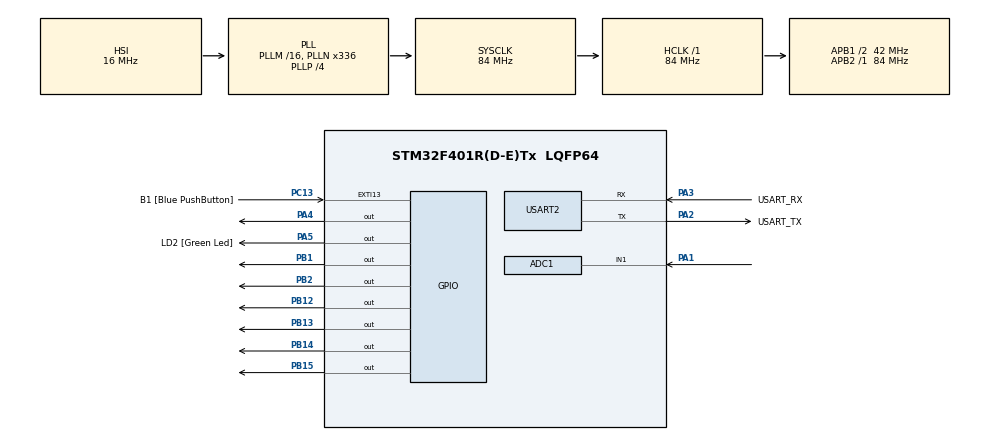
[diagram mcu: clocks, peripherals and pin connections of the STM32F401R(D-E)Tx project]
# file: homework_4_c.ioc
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ADC1.Channel-0\#ChannelRegularConversion=ADC_CHANNEL_1
ADC1.ExternalTrigConv=ADC_EXTERNALTRIGCONV_T2_TRGO
ADC1.NbrOfConversionFlag=1
ADC1.Rank-0\#ChannelRegularConversion=1
ADC1.SamplingTime-0\#ChannelRegularConversion=ADC_SAMPLETIME_480CYCLES
ADC1.master=1
Mcu.Family=STM32F4
Mcu.Name=STM32F401R(D-E)Tx
Mcu.Package=LQFP64
NVIC.ADC_IRQn=true\:0\:0\:false\:false\:true\:true\:true\:true
NVIC.PriorityGroup=NVIC_PRIORITYGROUP_0
PA1.Signal=SharedAnalog_PA1
PA13.GPIO_Label=TMS
PA13.Mode=Serial_Wire
PA13.Signal=SYS_JTMS-SWDIO
PA14.GPIO_Label=TCK
PA14.Mode=Serial_Wire
PA14.Signal=SYS_JTCK-SWCLK
PA2.GPIO_Label=USART_TX
PA2.GPIO_Mode=GPIO_MODE_AF_PP
PA2.GPIO_PuPd=GPIO_NOPULL
PA2.GPIO_Speed=GPIO_SPEED_FREQ_LOW
PA2.Mode=Asynchronous
PA2.Signal=USART2_TX
PA3.GPIO_Label=USART_RX
PA3.GPIO_Mode=GPIO_MODE_AF_PP
PA3.GPIO_PuPd=GPIO_NOPULL
PA3.GPIO_Speed=GPIO_SPEED_FREQ_LOW
PA3.Mode=Asynchronous
PA3.Signal=USART2_RX
PA4.Signal=GPIO_Output
PA5.GPIO_Label=LD2 [Green Led]
PA5.GPIO_Mode=GPIO_MODE_OUTPUT_PP
PA5.GPIO_PuPd=GPIO_NOPULL
PA5.GPIO_Speed=GPIO_SPEED_FREQ_LOW
PA5.Signal=GPIO_Output
PB1.Signal=GPIO_Output
PB12.Signal=GPIO_Output
PB13.Signal=GPIO_Output
PB14.Signal=GPIO_Output
PB15.Signal=GPIO_Output
PB2.Signal=GPIO_Output
PB3.GPIO_Label=SWO
PB3.Signal=SYS_JTDO-SWO
PC13-ANTI_TAMP.GPIO_Label=B1 [Blue PushButton]
PC13-ANTI_TAMP.GPIO_ModeDefaultEXTI=GPIO_MODE_IT_FALLING
PC13-ANTI_TAMP.GPIO_PuPd=GPIO_NOPULL
PC13-ANTI_TAMP.Signal=GPXTI13
PC14-OSC32_IN.Mode=LSE-External-Oscillator
PC14-OSC32_IN.Signal=RCC_OSC32_IN
PC15-OSC32_OUT.Mode=LSE-External-Oscillator
PC15-OSC32_OUT.Signal=RCC_OSC32_OUT
PH0\ -\ OSC_IN.Mode=HSE-External-Clock-Source
PH0\ -\ OSC_IN.Signal=RCC_OSC_IN
PH1\ -\ OSC_OUT.Mode=HSE-External-Clock-Source
PH1\ -\ OSC_OUT.Signal=RCC_OSC_OUT
ProjectManager.HeapSize=0x200
ProjectManager.StackSize=0x400
ProjectManager.TargetToolchain=STM32CubeIDE
RCC.48MHZClocksFreq_Value=48000000
RCC.AHBFreq_Value=84000000
RCC.APB1CLKDivider=RCC_HCLK_DIV2
RCC.APB1Freq_Value=42000000
RCC.APB1TimFreq_Value=84000000
RCC.APB2Freq_Value=84000000
RCC.APB2TimFreq_Value=84000000
RCC.CortexFreq_Value=84000000
RCC.HCLKFreq_Value=84000000
RCC.HSE_VALUE=8000000
RCC.HSI_VALUE=16000000
RCC.PLLN=336
RCC.PLLP=RCC_PLLP_DIV4
RCC.PLLQ=7
RCC.SYSCLKFreq_VALUE=84000000
RCC.SYSCLKSource=RCC_SYSCLKSOURCE_PLLCLK
RCC.VCOOutputFreq_Value=336000000
SH.SharedAnalog_PA1.0=GPIO_Analog
SH.SharedAnalog_PA1.1=ADC1_IN1,IN1
TIM2.Period=16800000-1
TIM2.Prescaler=0
TIM2.TIM_MasterOutputTrigger=TIM_TRGO_UPDATE
USART2.VirtualMode=VM_ASYNC
VP_TIM2_VS_ClockSourceINT.Mode=Internal
board=NUCLEO-F401RE

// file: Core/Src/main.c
/* USER CODE BEGIN Header */
/**
  ******************************************************************************
  * @file           : main.c
  * @brief          : Main program body
  ******************************************************************************
  * @attention
  *
  * Copyright (c) 2022 STMicroelectronics.
  * All rights reserved.
  *
  * This software is licensed under terms that can be found in the LICENSE file
  * in the root directory of this software component.
  * If no LICENSE file comes with this software, it is provided AS-IS.
  *
  ******************************************************************************
  */
/* USER CODE END Header */
#include "main.h"

/* USER CODE BEGIN Includes */
#include "stdio.h"
#include "string.h"
#include "PMDB16_LCD.h"
/* USER CODE END Includes */

ADC_HandleTypeDef hadc1;

TIM_HandleTypeDef htim2;

UART_HandleTypeDef huart2;

void SystemClock_Config(void);
static void MX_GPIO_Init(void);
static void MX_USART2_UART_Init(void);
static void MX_ADC1_Init(void);
static void MX_TIM2_Init(void);

/* USER CODE BEGIN 0 */
void HAL_ADC_ConvCpltCallback(ADC_HandleTypeDef* calling_adc){
  int conversion;
  float voltage;
  char output_string[17];
  float scale_factor = 80.0/3.3;
  if(calling_adc==&hadc1){
    conversion=HAL_ADC_GetValue(&hadc1);
    voltage=conversion*3.3/4096.0;
    snprintf(output_string, sizeof(output_string), "Voltage: %.3f V\r\n", voltage);		//.3 = only first 3 decimal digits
	lcd_clear();
    lcd_println(output_string, 0);
	lcd_drawBar((int)(voltage*scale_factor));											//(int) = casting float to int
    //HAL_ADC_Stop_IT(&hadc1);
  }
}
/* USER CODE END 0 */

int main(void)
{

  /* MCU Configuration--------------------------------------------------------*/

  /* Reset of all peripherals, Initializes the Flash interface and the Systick. */
  HAL_Init();

  /* Configure the system clock */
  SystemClock_Config();

  /* Initialize all configured peripherals */
  MX_GPIO_Init();
  MX_USART2_UART_Init();
  MX_ADC1_Init();
  MX_TIM2_Init();
  /* USER CODE BEGIN 2 */
  lcd_initialize();
  lcd_backlight_ON();
  HAL_ADC_Start_IT(&hadc1);
  HAL_TIM_Base_Start(&htim2);
  /* USER CODE END 2 */

  /* Infinite loop */
  while (1)
  {

  }
}

void SystemClock_Config(void)
{
  RCC_OscInitTypeDef RCC_OscInitStruct = {0};
  RCC_ClkInitTypeDef RCC_ClkInitStruct = {0};

  /** Configure the main internal regulator output voltage
  */
  __HAL_RCC_PWR_CLK_ENABLE();
  __HAL_PWR_VOLTAGESCALING_CONFIG(PWR_REGULATOR_VOLTAGE_SCALE2);

  /** Initializes the RCC Oscillators according to the specified parameters
  * in the RCC_OscInitTypeDef structure.
  */
  RCC_OscInitStruct.OscillatorType = RCC_OSCILLATORTYPE_HSI;
  RCC_OscInitStruct.HSIState = RCC_HSI_ON;
  RCC_OscInitStruct.HSICalibrationValue = RCC_HSICALIBRATION_DEFAULT;
  RCC_OscInitStruct.PLL.PLLState = RCC_PLL_ON;
  RCC_OscInitStruct.PLL.PLLSource = RCC_PLLSOURCE_HSI;
  RCC_OscInitStruct.PLL.PLLM = 16;
  RCC_OscInitStruct.PLL.PLLN = 336;
  RCC_OscInitStruct.PLL.PLLP = RCC_PLLP_DIV4;
  RCC_OscInitStruct.PLL.PLLQ = 7;
  if (HAL_RCC_OscConfig(&RCC_OscInitStruct) != HAL_OK)
  {
    Error_Handler();
  }

  /** Initializes the CPU, AHB and APB buses clocks
  */
  RCC_ClkInitStruct.ClockType = RCC_CLOCKTYPE_HCLK|RCC_CLOCKTYPE_SYSCLK
                              |RCC_CLOCKTYPE_PCLK1|RCC_CLOCKTYPE_PCLK2;
  RCC_ClkInitStruct.SYSCLKSource = RCC_SYSCLKSOURCE_PLLCLK;
  RCC_ClkInitStruct.AHBCLKDivider = RCC_SYSCLK_DIV1;
  RCC_ClkInitStruct.APB1CLKDivider = RCC_HCLK_DIV2;
  RCC_ClkInitStruct.APB2CLKDivider = RCC_HCLK_DIV1;

  if (HAL_RCC_ClockConfig(&RCC_ClkInitStruct, FLASH_LATENCY_2) != HAL_OK)
  {
    Error_Handler();
  }
}

static void MX_ADC1_Init(void)
{

  ADC_ChannelConfTypeDef sConfig = {0};

  /** Configure the global features of the ADC (Clock, Resolution, Data Alignment and number of conversion)
  */
  hadc1.Instance = ADC1;
  hadc1.Init.ClockPrescaler = ADC_CLOCK_SYNC_PCLK_DIV4;
  hadc1.Init.Resolution = ADC_RESOLUTION_12B;
  hadc1.Init.ScanConvMode = DISABLE;
  hadc1.Init.ContinuousConvMode = DISABLE;
  hadc1.Init.DiscontinuousConvMode = DISABLE;
  hadc1.Init.ExternalTrigConvEdge = ADC_EXTERNALTRIGCONVEDGE_RISING;
  hadc1.Init.ExternalTrigConv = ADC_EXTERNALTRIGCONV_T2_TRGO;
  hadc1.Init.DataAlign = ADC_DATAALIGN_RIGHT;
  hadc1.Init.NbrOfConversion = 1;
  hadc1.Init.DMAContinuousRequests = DISABLE;
  hadc1.Init.EOCSelection = ADC_EOC_SINGLE_CONV;
  if (HAL_ADC_Init(&hadc1) != HAL_OK)
  {
    Error_Handler();
  }

  /** Configure for the selected ADC regular channel its corresponding rank in the sequencer and its sample time.
  */
  sConfig.Channel = ADC_CHANNEL_1;
  sConfig.Rank = 1;
  sConfig.SamplingTime = ADC_SAMPLETIME_480CYCLES;
  if (HAL_ADC_ConfigChannel(&hadc1, &sConfig) != HAL_OK)
  {
    Error_Handler();
  }

}

static void MX_TIM2_Init(void)
{

  TIM_ClockConfigTypeDef sClockSourceConfig = {0};
  TIM_MasterConfigTypeDef sMasterConfig = {0};

  htim2.Instance = TIM2;
  htim2.Init.Prescaler = 0;
  htim2.Init.CounterMode = TIM_COUNTERMODE_UP;
  htim2.Init.Period = 16800000-1;
  htim2.Init.ClockDivision = TIM_CLOCKDIVISION_DIV1;
  htim2.Init.AutoReloadPreload = TIM_AUTORELOAD_PRELOAD_DISABLE;
  if (HAL_TIM_Base_Init(&htim2) != HAL_OK)
  {
    Error_Handler();
  }
  sClockSourceConfig.ClockSource = TIM_CLOCKSOURCE_INTERNAL;
  if (HAL_TIM_ConfigClockSource(&htim2, &sClockSourceConfig) != HAL_OK)
  {
    Error_Handler();
  }
  sMasterConfig.MasterOutputTrigger = TIM_TRGO_UPDATE;
  sMasterConfig.MasterSlaveMode = TIM_MASTERSLAVEMODE_DISABLE;
  if (HAL_TIMEx_MasterConfigSynchronization(&htim2, &sMasterConfig) != HAL_OK)
  {
    Error_Handler();
  }

}

static void MX_USART2_UART_Init(void)
{

  huart2.Instance = USART2;
  huart2.Init.BaudRate = 115200;
  huart2.Init.WordLength = UART_WORDLENGTH_8B;
  huart2.Init.StopBits = UART_STOPBITS_1;
  huart2.Init.Parity = UART_PARITY_NONE;
  huart2.Init.Mode = UART_MODE_TX_RX;
  huart2.Init.HwFlowCtl = UART_HWCONTROL_NONE;
  huart2.Init.OverSampling = UART_OVERSAMPLING_16;
  if (HAL_UART_Init(&huart2) != HAL_OK)
  {
    Error_Handler();
  }

}

static void MX_GPIO_Init(void)
{
  GPIO_InitTypeDef GPIO_InitStruct = {0};

  /* GPIO Ports Clock Enable */
  __HAL_RCC_GPIOC_CLK_ENABLE();
  __HAL_RCC_GPIOH_CLK_ENABLE();
  __HAL_RCC_GPIOA_CLK_ENABLE();
  __HAL_RCC_GPIOB_CLK_ENABLE();

  /*Configure GPIO pin Output Level */
  HAL_GPIO_WritePin(GPIOA, GPIO_PIN_4|LD2_Pin, GPIO_PIN_RESET);

  /*Configure GPIO pin Output Level */
  HAL_GPIO_WritePin(GPIOB, GPIO_PIN_1|GPIO_PIN_2|GPIO_PIN_12|GPIO_PIN_13
                          |GPIO_PIN_14|GPIO_PIN_15, GPIO_PIN_RESET);

  /*Configure GPIO pin : B1_Pin */
  GPIO_InitStruct.Pin = B1_Pin;
  GPIO_InitStruct.Mode = GPIO_MODE_IT_FALLING;
  GPIO_InitStruct.Pull = GPIO_NOPULL;
  HAL_GPIO_Init(B1_GPIO_Port, &GPIO_InitStruct);

  /*Configure GPIO pins : PA4 LD2_Pin */
  GPIO_InitStruct.Pin = GPIO_PIN_4|LD2_Pin;
  GPIO_InitStruct.Mode = GPIO_MODE_OUTPUT_PP;
  GPIO_InitStruct.Pull = GPIO_NOPULL;
  GPIO_InitStruct.Speed = GPIO_SPEED_FREQ_LOW;
  HAL_GPIO_Init(GPIOA, &GPIO_InitStruct);

  /*Configure GPIO pins : PB1 PB2 PB12 PB13
                           PB14 PB15 */
  GPIO_InitStruct.Pin = GPIO_PIN_1|GPIO_PIN_2|GPIO_PIN_12|GPIO_PIN_13
                          |GPIO_PIN_14|GPIO_PIN_15;
  GPIO_InitStruct.Mode = GPIO_MODE_OUTPUT_PP;
  GPIO_InitStruct.Pull = GPIO_NOPULL;
  GPIO_InitStruct.Speed = GPIO_SPEED_FREQ_LOW;
  HAL_GPIO_Init(GPIOB, &GPIO_InitStruct);

}

void Error_Handler(void)
{
  __disable_irq();
  while (1)
  {
  }
}
